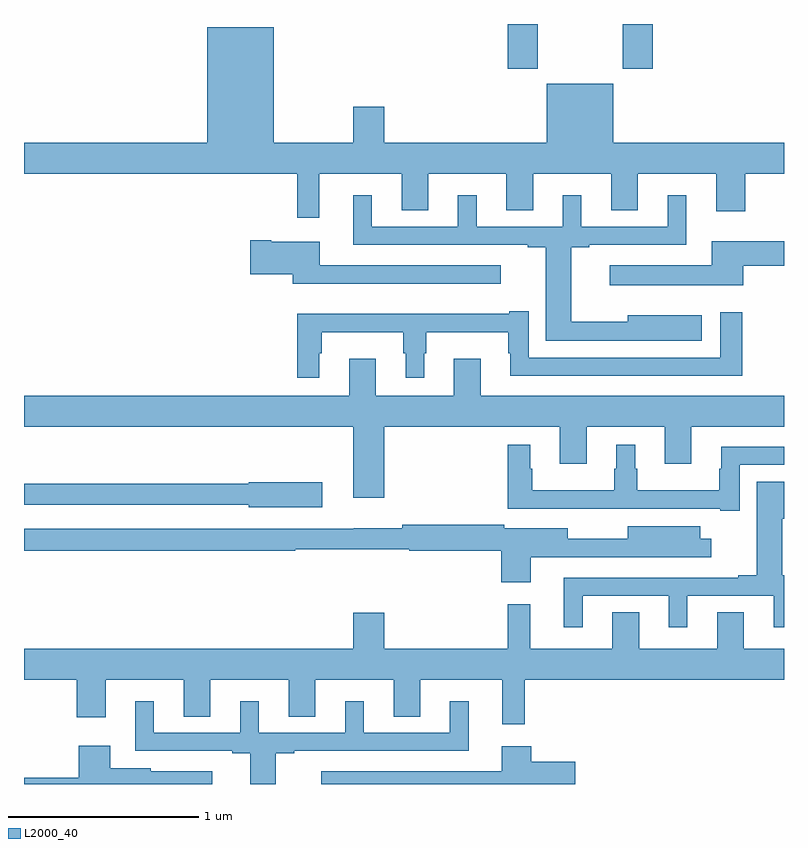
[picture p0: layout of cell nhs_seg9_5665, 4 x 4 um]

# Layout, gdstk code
import gdstk
lib = gdstk.Library(unit=1e-6, precision=1e-09)
def R(c, l, rs):  # rectangles x0, y0, x1, y1
    for r in rs: c.add(gdstk.rectangle(r[:2], r[2:], *l))
def P(c, l, *ps):  # polygons
    for p in ps: c.add(gdstk.Polygon(p, *l))
L2000_40 = (2000, 40)

nhs_seg9_5665 = lib.new_cell('nhs_seg9_5665')
R(nhs_seg9_5665, L2000_40, [(441.545,1238.265,441.705,1238.5), (442.15,1238.265,442.31,1238.5)])
P(nhs_seg9_5665, L2000_40, [(440.555,1237.712),(440.987,1237.712),(440.987,1237.519),(441.127,1237.519),(441.127,1237.712),(441.539,1237.712),(441.539,1237.519),(441.679,1237.519),(441.679,1237.712),(442.091,1237.712),(442.091,1237.519),(442.231,1237.519),(442.231,1237.712),(442.643,1237.712),(442.643,1237.515),(442.796,1237.515),(442.796,1237.712),(443,1237.712),(443,1237.876),(442.102,1237.876),(442.102,1238.185),(441.752,1238.185),(441.752,1237.876),(440.896,1237.876),(440.896,1238.065),(440.732,1238.065),(440.732,1237.876),(440.314,1237.876),(440.314,1238.482),(439.964,1238.482),(439.964,1237.876),(439,1237.876),(439,1237.712),(440.437,1237.712),(440.437,1237.479),(440.555,1237.479)],
  [(442.567,1236.967),(442.178,1236.967),(442.178,1236.932),(441.88,1236.932),(441.88,1237.326),(441.976,1237.326),(441.976,1237.338),(442.486,1237.338),(442.486,1237.6),(442.388,1237.6),(442.388,1237.434),(441.934,1237.434),(441.934,1237.6),(441.836,1237.6),(441.836,1237.434),(441.382,1237.434),(441.382,1237.6),(441.284,1237.6),(441.284,1237.434),(440.83,1237.434),(440.83,1237.6),(440.732,1237.6),(440.732,1237.338),(441.65,1237.338),(441.65,1237.326),(441.746,1237.326),(441.746,1236.834),(442.282,1236.834),(442.282,1236.833),(442.567,1236.833)],
  [(441.508,1237.23),(440.557,1237.23),(440.557,1237.354),(440.302,1237.354),(440.302,1237.362),(440.19,1237.362),(440.19,1237.184),(440.414,1237.184),(440.414,1237.133),(441.508,1237.133)],
  [(442.786,1237.228),(443,1237.228),(443,1237.357),(442.619,1237.357),(442.619,1237.231),(442.083,1237.231),(442.083,1237.124),(442.786,1237.124)],
  [(440.554,1236.767),(440.566,1236.767),(440.566,1236.878),(440.997,1236.878),(440.997,1236.767),(441.008,1236.767),(441.008,1236.639),(441.106,1236.639),(441.106,1236.767),(441.118,1236.767),(441.118,1236.878),(441.549,1236.878),(441.549,1236.767),(441.56,1236.767),(441.56,1236.648),(442.781,1236.648),(442.781,1236.982),(442.665,1236.982),(442.665,1236.744),(441.657,1236.744),(441.657,1236.988),(441.554,1236.988),(441.554,1236.976),(440.437,1236.976),(440.437,1236.639),(440.554,1236.639)],
  [(440.732,1236.006),(440.896,1236.006),(440.896,1236.38),(441.821,1236.38),(441.821,1236.186),(441.961,1236.186),(441.961,1236.38),(442.373,1236.38),(442.373,1236.186),(442.513,1236.186),(442.513,1236.38),(443,1236.38),(443,1236.544),(441.403,1236.544),(441.403,1236.739),(441.263,1236.739),(441.263,1236.544),(440.851,1236.544),(440.851,1236.739),(440.711,1236.739),(440.711,1236.544),(439,1236.544),(439,1236.38),(440.732,1236.38)],
  [(442.767,1236.18),(443,1236.18),(443,1236.276),(442.67,1236.276),(442.67,1236.158),(442.659,1236.158),(442.659,1236.046),(442.228,1236.046),(442.228,1236.158),(442.216,1236.158),(442.216,1236.286),(442.118,1236.286),(442.118,1236.158),(442.107,1236.158),(442.107,1236.046),(441.676,1236.046),(441.676,1236.158),(441.664,1236.158),(441.664,1236.286),(441.547,1236.286),(441.547,1235.949),(442.664,1235.949),(442.664,1235.937),(442.767,1235.937)],
  [(441.94,1235.49),(442.394,1235.49),(442.394,1235.325),(442.492,1235.325),(442.492,1235.49),(442.946,1235.49),(442.946,1235.325),(443,1235.325),(443,1235.599),(442.99,1235.599),(442.99,1235.897),(443,1235.897),(443,1236.09),(442.856,1236.09),(442.856,1235.599),(442.76,1235.599),(442.76,1235.586),(441.842,1235.586),(441.842,1235.325),(441.94,1235.325)],
  [(440.569,1236.087),(440.184,1236.087),(440.184,1236.079),(439,1236.079),(439,1235.97),(440.184,1235.97),(440.184,1235.957),(440.569,1235.957)],
  [(441.667,1235.694),(442.282,1235.694),(442.282,1235.693),(442.618,1235.693),(442.618,1235.791),(442.558,1235.791),(442.558,1235.857),(442.178,1235.857),(442.178,1235.791),(441.862,1235.791),(441.862,1235.845),(441.528,1235.845),(441.528,1235.864),(440.992,1235.864),(440.992,1235.845),(440.736,1235.845),(440.736,1235.844),(439,1235.844),(439,1235.728),(440.428,1235.728),(440.428,1235.736),(441.028,1235.736),(441.028,1235.728),(441.512,1235.728),(441.512,1235.562),(441.667,1235.562)],
  [(441.547,1235.212),(440.896,1235.212),(440.896,1235.401),(440.732,1235.401),(440.732,1235.212),(439,1235.212),(439,1235.048),(439.277,1235.048),(439.277,1234.851),(439.429,1234.851),(439.429,1235.048),(439.841,1235.048),(439.841,1234.855),(439.981,1234.855),(439.981,1235.048),(440.393,1235.048),(440.393,1234.855),(440.533,1234.855),(440.533,1235.048),(440.945,1235.048),(440.945,1234.855),(441.085,1234.855),(441.085,1235.048),(441.518,1235.048),(441.518,1234.815),(441.635,1234.815),(441.635,1235.048),(443,1235.048),(443,1235.212),(442.789,1235.212),(442.789,1235.405),(442.649,1235.405),(442.649,1235.212),(442.237,1235.212),(442.237,1235.405),(442.097,1235.405),(442.097,1235.212),(441.665,1235.212),(441.665,1235.446),(441.547,1235.446)],
  [(440.326,1234.662),(440.422,1234.662),(440.422,1234.674),(441.341,1234.674),(441.341,1234.936),(441.242,1234.936),(441.242,1234.77),(440.788,1234.77),(440.788,1234.936),(440.69,1234.936),(440.69,1234.77),(440.236,1234.77),(440.236,1234.936),(440.138,1234.936),(440.138,1234.77),(439.684,1234.77),(439.684,1234.936),(439.586,1234.936),(439.586,1234.674),(440.096,1234.674),(440.096,1234.662),(440.192,1234.662),(440.192,1234.5),(440.326,1234.5)],
  [(439.99,1234.567),(439.668,1234.567),(439.668,1234.582),(439.453,1234.582),(439.453,1234.702),(439.287,1234.702),(439.287,1234.532),(439,1234.532),(439,1234.5),(439.99,1234.5)],
  [(441.901,1234.617),(441.671,1234.617),(441.671,1234.699),(441.515,1234.699),(441.515,1234.566),(440.565,1234.566),(440.565,1234.5),(441.901,1234.5)])

lib.write_gds('nhs_seg9_5665.gds')
